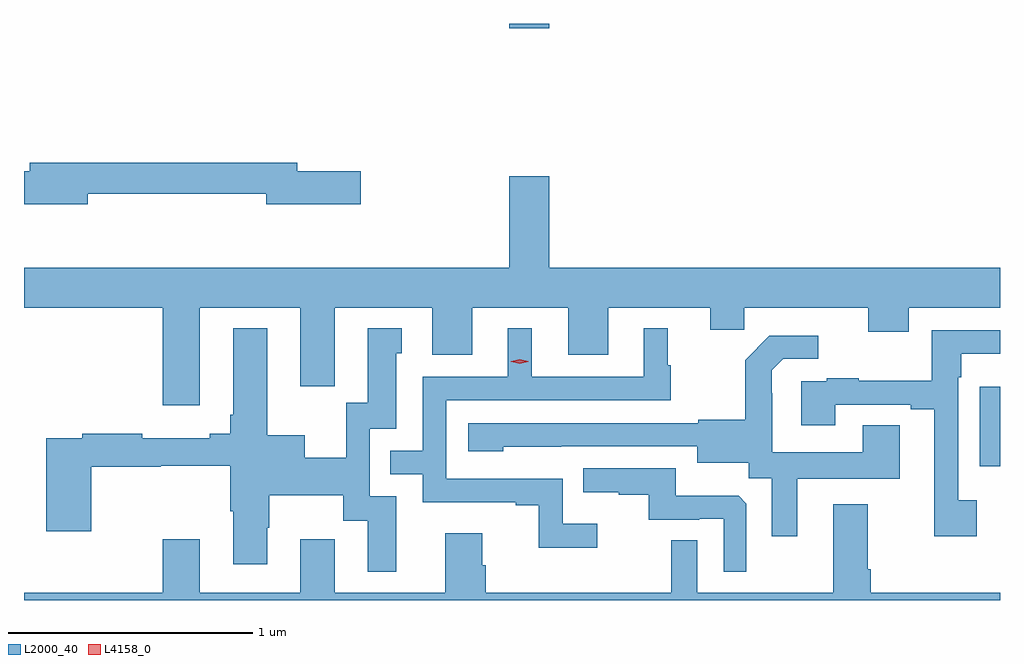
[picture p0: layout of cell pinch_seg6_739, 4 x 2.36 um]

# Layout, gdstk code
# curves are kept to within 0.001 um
import gdstk
lib = gdstk.Library(unit=1e-6, precision=1e-09)
def R(c, l, rs):  # rectangles x0, y0, x1, y1
    for r in rs: c.add(gdstk.rectangle(r[:2], r[2:], *l))
def P(c, l, *ps):  # polygons
    for p in ps: c.add(gdstk.Polygon(p, *l))
L2000_40 = (2000, 40)
L4158_0 = (4158, 0)

pinch_seg6_739 = lib.new_cell('pinch_seg6_739')
R(pinch_seg6_739, L2000_40, [(550.554,916.05,550.636,916.375), (548.624,917.844,548.788,917.864)])
P(pinch_seg6_739, L2000_40, [(546.898,917.166),(547.628,917.166),(547.628,917.123),(548.017,917.123),(548.017,917.258),(547.756,917.258),(547.756,917.294),(546.659,917.294),(546.659,917.258),(546.636,917.258),(546.636,917.123),(546.898,917.123)],
  [(547.357,916.7),(547.769,916.7),(547.769,916.377),(547.909,916.377),(547.909,916.7),(548.309,916.7),(548.309,916.506),(548.473,916.506),(548.473,916.7),(548.867,916.7),(548.867,916.506),(549.031,916.506),(549.031,916.7),(549.449,916.7),(549.449,916.61),(549.587,916.61),(549.587,916.7),(550.097,916.7),(550.097,916.601),(550.261,916.601),(550.261,916.7),(550.636,916.7),(550.636,916.864),(548.788,916.864),(548.788,917.239),(548.624,917.239),(548.624,916.864),(546.636,916.864),(546.636,916.7),(547.205,916.7),(547.205,916.299),(547.357,916.299)],
  [(548.161,915.927),(548.052,915.927),(548.052,916.203),(548.161,916.203),(548.161,916.512),(548.185,916.512),(548.185,916.615),(548.045,916.615),(548.045,916.311),(547.956,916.311),(547.956,916.084),(547.786,916.084),(547.786,916.177),(547.633,916.177),(547.633,916.615),(547.493,916.615),(547.493,916.261),(547.481,916.261),(547.481,916.184),(547.397,916.184),(547.397,916.165),(547.121,916.165),(547.121,916.184),(546.874,916.184),(546.874,916.164),(546.728,916.164),(546.728,915.783),(546.911,915.783),(546.911,916.048),(547.196,916.048),(547.196,916.052),(547.481,916.052),(547.481,915.866),(547.493,915.866),(547.493,915.648),(547.633,915.648),(547.633,915.798),(547.641,915.798),(547.641,915.932),(547.944,915.932),(547.944,915.826),(548.045,915.826),(548.045,915.618),(548.161,915.618)],
  [(548.986,915.814),(548.844,915.814),(548.844,915.999),(548.367,915.999),(548.367,916.32),(549.286,916.32),(549.286,916.464),(549.274,916.464),(549.274,916.615),(549.176,916.615),(549.176,916.416),(548.716,916.416),(548.716,916.615),(548.618,916.615),(548.618,916.416),(548.271,916.416),(548.271,916.113),(548.137,916.113),(548.137,916.017),(548.271,916.017),(548.271,915.903),(548.651,915.903),(548.651,915.891),(548.746,915.891),(548.746,915.716),(548.986,915.716)],
  [(550.54,915.91),(550.464,915.91),(550.464,916.415),(550.477,916.415),(550.477,916.511),(550.636,916.511),(550.636,916.608),(550.356,916.608),(550.356,916.4),(550.057,916.4),(550.057,916.411),(549.925,916.411),(549.925,916.398),(549.821,916.398),(549.821,916.218),(549.961,916.218),(549.961,916.302),(550.271,916.302),(550.271,916.284),(550.367,916.284),(550.367,915.762),(550.54,915.762)],
  [(549.805,915.998),(550.225,915.998),(550.225,916.217),(550.073,916.217),(550.073,916.108),(549.702,916.108),(549.702,916.349),(549.7,916.349),(549.7,916.444),(549.747,916.491),(549.892,916.491),(549.892,916.585),(549.691,916.585),(549.591,916.485),(549.591,916.24),(549.399,916.24),(549.399,916.227),(548.457,916.227),(548.457,916.112),(548.601,916.112),(548.601,916.13),(549.395,916.131),(549.395,916.064),(549.606,916.064),(549.606,916),(549.701,916),(549.701,915.762),(549.805,915.762)],
  [(549.597,915.897),(549.565,915.929),(549.307,915.929),(549.307,916.041),(548.929,916.041),(548.929,915.944),(549.073,915.944),(549.073,915.933),(549.197,915.933),(549.197,915.831),(549.404,915.831),(549.404,915.834),(549.504,915.834),(549.504,915.617),(549.597,915.617)],
  [(550.636,915.532),(550.106,915.532),(550.106,915.628),(550.093,915.628),(550.093,915.895),(549.953,915.895),(549.953,915.532),(549.396,915.532),(549.396,915.746),(549.288,915.746),(549.288,915.532),(548.528,915.532),(548.528,915.645),(548.515,915.645),(548.515,915.775),(548.363,915.775),(548.363,915.532),(547.909,915.532),(547.909,915.751),(547.769,915.751),(547.769,915.532),(547.357,915.532),(547.357,915.751),(547.205,915.751),(547.205,915.532),(546.636,915.532),(546.636,915.5),(550.636,915.5)])
P(pinch_seg6_739, L4158_0, [(548.667,916.469),(548.632,916.479),(548.631,916.479),(548.632,916.48),(548.667,916.489),(548.703,916.48),(548.703,916.479),(548.703,916.479)])

lib.write_gds('pinch_seg6_739.gds')
